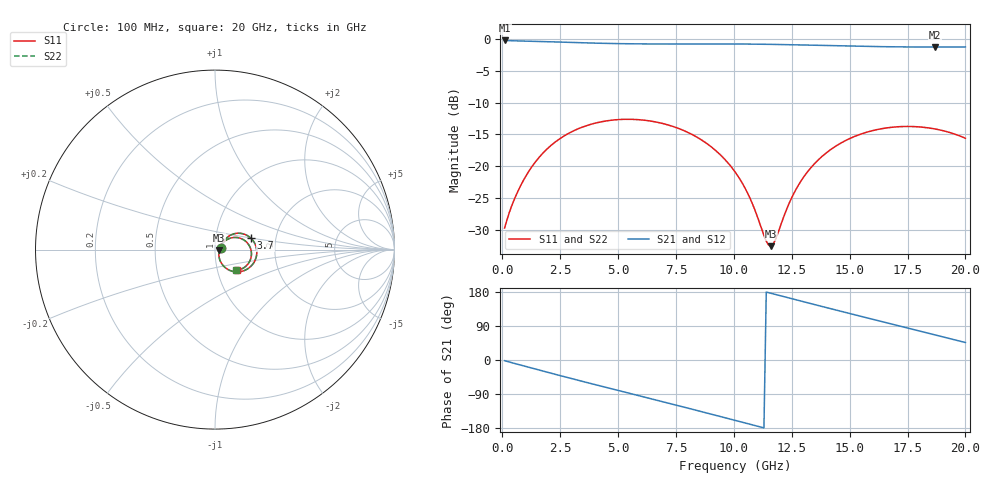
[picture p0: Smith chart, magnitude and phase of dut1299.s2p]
! Touchstone file exported from HFSS 2026.1.0
!  File:  C:/ffzhzh/LocalFiles/Ansys_Project_Files/temp_train_TSV_RDL_1299_1783344131_4416.aedt
!  Generated:  09:42:07 PM Jul  6, 2026
!  Design:  TSV_RDL
!  Project:  temp_train_TSV_RDL_1299_1783344131_4416
! Variables:
!  h_bsmrdl = 5.68um
!  h_ox = 20um
!  h_rdl = 5um
!  h_sub = 59.08um
!  h_tmrdl = 5.02um
!  h_tsv = 59.08um
!  h_via = 3um
!  l_bsmrdl = 764.45um
!  l_sub = 5657.61um
!  l_tmrdl = 719.15um
!  m_sub = 200um
!  pitch = 21.67um
!  r_tsv = 2.42um
!  s_tmrdl = 10um
!  w_bsmrdl = 14.02um
!  w_sub = 500um
!  w_tmrdl = 15.2um
!  x_tsv_center1 = 726.75um
!  x_tsv_center2 = 1505.22um
!  x_tsv_center3 = 2239.57um
!  x_tsv_center4 = 3018.04um
!  x_tsv_center5 = 3752.39um
!  x_tsv_center6 = 4530.86um
# GHz S MA R 50.000000
! Terminal data exported
! Port[1] = TM_RDL1_1_T1
! Port[2] = TM_RDL5_1_T1
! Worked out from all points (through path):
!   200 points, 100 MHz to 20 GHz, reference 50 ohm
!   highest |S21| = -0.28 dB at 100 MHz (marker M1); lowest = -1.3 dB at 18.7 GHz (marker M2)
!   group delay of S21, straight-line fit = 43.5 ps
!   lowest |S11| = -32.5 dB at 11.6 GHz (marker M3), VSWR 1.05, Z = 52.4 - j0.427 ohm
!   |S11| at or under -10 dB: start of sweep to end of sweep
!   |S22| runs from -32.5 to -12.6 dB; largest |S21 - S12| = 1.6e-14
!   S11 on the Smith chart (normalised r, x): 100 MHz: 1.07, +0.02; 3.7 GHz: 1.49, +0.20; 20 GHz: 1.24, -0.29
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0.1  0.03295 15.6  0.9685 -1.8  0.9685 -1.8  0.03295 15.6
! Gamma 0 0 0 0
! Port Impedance 50 0 50 0
0.7  0.06532 42.5  0.9604 -11.9  0.9604 -11.9  0.06532 42.5
1.4  0.1067 44.2  0.9537 -23.4  0.9537 -23.4  0.1067 44.2
2.3  0.1559 35.8  0.943 -38.0  0.943 -38.0  0.1559 35.8
3.5  0.2044 20.2  0.9281 -57.0  0.9281 -57.0  0.2044 20.1
3.7  0.2103 17.4  0.9259 -60.2  0.9259 -60.2  0.2103 17.4
5.3  0.2338 -4.9  0.9131 -84.9  0.9131 -84.9  0.2338 -4.9
6.8  0.2195 -25.6  0.9091 -108.1  0.9091 -108.1  0.2195 -25.7
7.7  0.1954 -37.8  0.9091 -122.1  0.9091 -122.1  0.1955 -37.8
8.7  0.157 -50.6  0.9098 -137.8  0.9098 -137.8  0.157 -50.7
10.1  0.08803 -64.4  0.9089 -160.0  0.9089 -160.0  0.08808 -64.5
10.7  0.05624 -64.0  0.9072 -169.6  0.9072 -169.6  0.05629 -64.1
11.4  0.02597 -33.3  0.904 179.3  0.904 179.3  0.02601 -33.5
11.6  0.02375 -9.9  0.9028 176.1  0.9028 176.1  0.02378 -10.1
11.8  0.02681 12.5  0.9016 172.9  0.9016 172.9  0.02684 12.3
12.6  0.06191 40.4  0.8958 160.2  0.8958 160.2  0.06191 40.3
13.4  0.1011 37.7  0.889 147.6  0.889 147.6  0.1011 37.6
15.1  0.1682 19.1  0.8744 121.2  0.8744 121.2  0.1682 18.9
16.7  0.2014 -1.5  0.8645 96.7  0.8645 96.7  0.2014 -1.7
17.7  0.2053 -14.5  0.8613 81.5  0.8613 81.5  0.2053 -14.8
18.7  0.1962 -27.4  0.8603 66.2  0.8603 66.2  0.1962 -27.7
20  0.1662 -43.4  0.8613 46.1  0.8613 46.1  0.1661 -43.9
